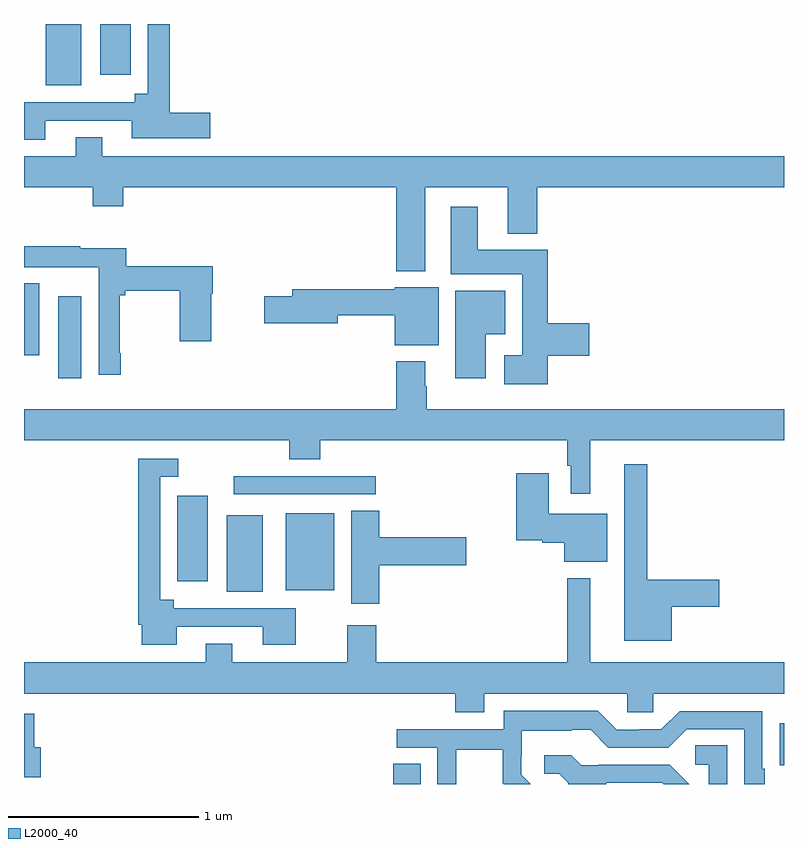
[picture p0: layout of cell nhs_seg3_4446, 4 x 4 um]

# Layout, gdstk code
import gdstk
lib = gdstk.Library(unit=1e-6, precision=1e-09)
def R(c, l, rs):  # rectangles x0, y0, x1, y1
    for r in rs: c.add(gdstk.rectangle(r[:2], r[2:], *l))
def P(c, l, *ps):  # polygons
    for p in ps: c.add(gdstk.Polygon(p, *l))
L2000_40 = (2000, 40)

nhs_seg3_4446 = lib.new_cell('nhs_seg3_4446')
R(nhs_seg3_4446, L2000_40, [(348.944,740.4,349.087,740.507), (350.977,740.5,351,740.719), (348.068,741.413,348.256,741.814), (348.377,741.419,348.634,741.826), (347.807,741.468,347.968,741.916), (348.105,741.924,348.85,742.02), (347.18,742.536,347.302,742.966), (347,742.656,347.08,743.036), (347.114,744.077,347.302,744.4), (347.402,744.132,347.563,744.4)])
P(nhs_seg3_4446, L2000_40, [(347.113,743.892),(347.567,743.892),(347.567,743.798),(347.98,743.798),(347.98,743.933),(347.768,743.933),(347.768,744.4),(347.652,744.4),(347.652,744.034),(347.582,744.034),(347.582,743.988),(347,743.988),(347,743.79),(347.113,743.79)],
  [(349.111,743.54),(349.547,743.54),(349.547,743.297),(349.7,743.297),(349.7,743.54),(351,743.54),(351,743.704),(347.413,743.704),(347.413,743.803),(347.273,743.803),(347.273,743.704),(347,743.704),(347,743.54),(347.362,743.54),(347.362,743.441),(347.522,743.441),(347.522,743.54),(348.959,743.54),(348.959,743.099),(349.111,743.099)],
  [(349.757,742.655),(349.975,742.655),(349.975,742.826),(349.757,742.826),(349.757,743.212),(349.387,743.212),(349.387,743.437),(349.247,743.437),(349.247,743.084),(349.622,743.084),(349.622,742.657),(349.527,742.657),(349.527,742.505),(349.757,742.505)],
  [(347.51,742.666),(347.503,742.666),(347.503,742.973),(347.532,742.973),(347.532,742.996),(347.821,742.996),(347.821,742.731),(347.986,742.731),(347.986,742.979),(347.994,742.979),(347.994,743.125),(347.537,743.125),(347.537,743.22),(347.297,743.22),(347.297,743.23),(347,743.23),(347,743.121),(347.184,743.121),(347.184,743.12),(347.394,743.12),(347.394,742.554),(347.51,742.554)],
  [(349.183,743.014),(348.95,743.014),(348.95,743.003),(348.413,743.003),(348.413,742.967),(348.264,742.967),(348.264,742.825),(348.652,742.825),(348.652,742.867),(348.95,742.867),(348.95,742.709),(349.183,742.709)],
  [(349.429,742.766),(349.534,742.766),(349.534,742.996),(349.271,742.996),(349.271,742.536),(349.429,742.536)],
  [(349.981,742.208),(351,742.208),(351,742.372),(349.119,742.372),(349.119,742.493),(349.111,742.493),(349.111,742.624),(348.959,742.624),(348.959,742.372),(347,742.372),(347,742.208),(348.395,742.208),(348.395,742.109),(348.56,742.109),(348.56,742.208),(349.86,742.208),(349.86,742.076),(349.877,742.076),(349.877,741.927),(349.981,741.927)],
  [(347.803,741.228),(348.257,741.228),(348.257,741.134),(348.43,741.134),(348.43,741.324),(347.788,741.324),(347.788,741.37),(347.718,741.37),(347.718,742.017),(347.812,742.017),(347.812,742.113),(347.602,742.113),(347.602,741.238),(347.621,741.238),(347.621,741.134),(347.803,741.134)],
  [(350.41,741.334),(350.659,741.334),(350.659,741.476),(350.281,741.476),(350.281,742.084),(350.159,742.084),(350.159,741.155),(350.41,741.155)],
  [(350.071,741.823),(349.762,741.823),(349.762,742.036),(349.592,742.036),(349.592,741.683),(349.728,741.683),(349.728,741.671),(349.844,741.671),(349.844,741.569),(350.071,741.569)],
  [(348.869,741.551),(349.327,741.551),(349.327,741.698),(348.869,741.698),(348.869,741.839),(348.722,741.839),(348.722,741.348),(348.869,741.348)],
  [(349.271,740.777),(349.423,740.777),(349.423,740.876),(350.175,740.876),(350.175,740.778),(350.313,740.778),(350.313,740.876),(351,740.876),(351,741.04),(349.981,741.04),(349.981,741.484),(349.86,741.484),(349.86,741.04),(348.854,741.04),(348.854,741.235),(348.701,741.235),(348.701,741.04),(348.097,741.04),(348.097,741.139),(347.957,741.139),(347.957,741.04),(347,741.04),(347,740.876),(349.271,740.876)],
  [(349.275,740.58),(349.519,740.58),(349.519,740.405),(349.524,740.4),(349.668,740.4),(349.618,740.45),(349.618,740.547),(349.62,740.547),(349.62,740.681),(349.883,740.681),(349.883,740.685),(349.983,740.685),(350.076,740.592),(350.391,740.592),(350.487,740.688),(350.79,740.688),(350.79,740.4),(350.899,740.4),(350.899,740.479),(350.886,740.479),(350.886,740.784),(350.451,740.784),(350.355,740.688),(350.237,740.688),(350.237,740.685),(350.121,740.685),(350.021,740.785),(349.524,740.785),(349.524,740.688),(348.963,740.688),(348.963,740.592),(349.176,740.592),(349.176,740.4),(349.275,740.4)],
  [(347.089,740.593),(347.054,740.593),(347.054,740.77),(347,740.77),(347,740.435),(347.089,740.435)],
  [(350.7,740.603),(350.532,740.603),(350.532,740.502),(350.604,740.502),(350.604,740.4),(350.7,740.4)],
  [(350.065,740.406),(350.36,740.406),(350.366,740.4),(350.5,740.4),(350.398,740.502),(350.026,740.502),(350.026,740.499),(349.932,740.499),(349.88,740.551),(349.737,740.551),(349.737,740.454),(349.818,740.454),(349.865,740.407),(349.865,740.4),(350.065,740.4)])

lib.write_gds('nhs_seg3_4446.gds')
